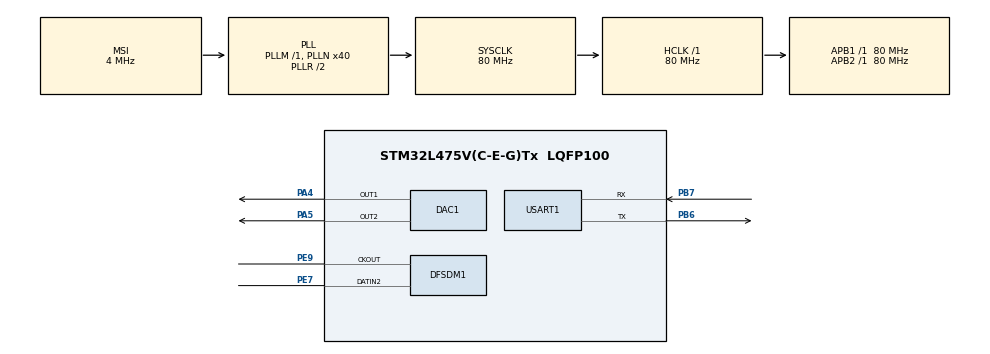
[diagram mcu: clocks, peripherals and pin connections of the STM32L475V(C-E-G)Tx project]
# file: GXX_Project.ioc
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DAC1.DAC_Channel-DAC_OUT2=DAC_CHANNEL_2
DFSDM1.Divider=32
DFSDM1.FastMode_reg_FIL0=ENABLE
DFSDM1.FastMode_reg_FIL1=ENABLE
DFSDM1.Filter_regChannel_FIL0=DFSDM_CHANNEL_1
DFSDM1.Filter_regChannel_FIL1=DFSDM_CHANNEL_2
DFSDM1.Filter_regContinuousMode_FIL0=DFSDM_CONTINUOUS_CONV_ON
DFSDM1.Filter_regContinuousMode_FIL1=DFSDM_CONTINUOUS_CONV_ON
DFSDM1.Fosr_FIL0=128
DFSDM1.Fosr_FIL1=128
DFSDM1.Iosr_FIL0=1
DFSDM1.Iosr_FIL1=1
DFSDM1.Offset_CH1=-1152
DFSDM1.Offset_CH2=-1152
DFSDM1.RightBitShift_CH1=0x0D
DFSDM1.RightBitShift_CH2=0x0D
DFSDM1.Selection=DFSDM_CHANNEL_OUTPUT_CLOCK_AUDIO
DFSDM1.SincOrder_FIL0=DFSDM_FILTER_SINC4_ORDER
DFSDM1.SincOrder_FIL1=DFSDM_FILTER_SINC4_ORDER
DFSDM1.Type_spi_CH1=DFSDM_CHANNEL_SPI_FALLING
Mcu.Family=STM32L4
Mcu.Name=STM32L475V(C-E-G)Tx
Mcu.Package=LQFP100
NVIC.PriorityGroup=NVIC_PRIORITYGROUP_4
NVIC.TIM1_TRG_COM_TIM17_IRQn=true\:0\:0\:false\:false\:true\:false\:false
NVIC.TimeBase=TIM1_TRG_COM_TIM17_IRQn
NVIC.TimeBaseIP=TIM17
PA4.Signal=COMP_DAC11_group
PA5.Signal=COMP_DAC12_group
PB6.Mode=Asynchronous
PB6.Signal=USART1_TX
PB7.Mode=Asynchronous
PB7.Signal=USART1_RX
PE7.Signal=S_DATAIN2DFSDM1
PE9.Signal=S_CKOUTDFSDM1
ProjectManager.HeapSize=0x200
ProjectManager.StackSize=0x400
ProjectManager.TargetToolchain=MDK-ARM V5
RCC.ADCFreq_Value=64000000
RCC.AHBFreq_Value=80000000
RCC.APB1Freq_Value=80000000
RCC.APB1TimFreq_Value=80000000
RCC.APB2Freq_Value=80000000
RCC.APB2TimFreq_Value=80000000
RCC.CortexFreq_Value=80000000
RCC.HCLKFreq_Value=80000000
RCC.HSE_VALUE=8000000
RCC.HSI_VALUE=16000000
RCC.LSE_VALUE=32768
RCC.MSI_VALUE=4000000
RCC.PLLN=40
RCC.PLLSAI1N=32
RCC.SYSCLKFreq_VALUE=80000000
RCC.SYSCLKSource=RCC_SYSCLKSOURCE_PLLCLK
RCC.USBFreq_Value=64000000
RCC.VCOOutputFreq_Value=160000000
SH.COMP_DAC11_group.0=DAC1_OUT1,DAC_OUT1
SH.COMP_DAC12_group.0=DAC1_OUT2,DAC_OUT2
SH.S_CKOUTDFSDM1.0=DFSDM1_CKOUT,PDM_SPI_input_from_ch2_and_internal_clock
SH.S_CKOUTDFSDM1.1=DFSDM1_CKOUT,PDM_SPI_Input_from_ch12_and_Internal_Clock
SH.S_DATAIN2DFSDM1.0=DFSDM1_DATIN2,PDM_SPI_input_from_ch2_and_internal_clock
SH.S_DATAIN2DFSDM1.1=DFSDM1_DATIN2,PDM_SPI_Input_from_ch12_and_Internal_Clock
USART1.VirtualMode-Asynchronous=VM_ASYNC
VP_SYS_VS_tim17.Mode=TIM17
board=custom

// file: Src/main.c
/**
  ******************************************************************************
  * @file           : main.c
  * @brief          : Main program body
  ******************************************************************************
  * This notice applies to any and all portions of this file
  * that are not between comment pairs USER CODE BEGIN and
  * USER CODE END. Other portions of this file, whether
  * inserted by the user or by software development tools
  * are owned by their respective copyright owners.
  *
  * Copyright (c) 2018 STMicroelectronics International N.V.
  * All rights reserved.
  *
  * Redistribution and use in source and binary forms, with or without
  * modification, are permitted, provided that the following conditions are met:
  *
  * 1. Redistribution of source code must retain the above copyright notice,
  *    this list of conditions and the following disclaimer.
  * 2. Redistributions in binary form must reproduce the above copyright notice,
  *    this list of conditions and the following disclaimer in the documentation
  *    and/or other materials provided with the distribution.
  * 3. Neither the name of STMicroelectronics nor the names of other
  *    contributors to this software may be used to endorse or promote products
  *    derived from this software without specific written permission.
  * 4. This software, including modifications and/or derivative works of this
  *    software, must execute solely and exclusively on microcontroller or
  *    microprocessor devices manufactured by or for STMicroelectronics.
  * 5. Redistribution and use of this software other than as permitted under
  *    this license is void and will automatically terminate your rights under
  *    this license.
  *
  * THIS SOFTWARE IS PROVIDED BY STMICROELECTRONICS AND CONTRIBUTORS "AS IS"
  * AND ANY EXPRESS, IMPLIED OR STATUTORY WARRANTIES, INCLUDING, BUT NOT
  * LIMITED TO, THE IMPLIED WARRANTIES OF MERCHANTABILITY, FITNESS FOR A
  * PARTICULAR PURPOSE AND NON-INFRINGEMENT OF THIRD PARTY INTELLECTUAL PROPERTY
  * RIGHTS ARE DISCLAIMED TO THE FULLEST EXTENT PERMITTED BY LAW. IN NO EVENT
  * SHALL STMICROELECTRONICS OR CONTRIBUTORS BE LIABLE FOR ANY DIRECT, INDIRECT,
  * INCIDENTAL, SPECIAL, EXEMPLARY, OR CONSEQUENTIAL DAMAGES (INCLUDING, BUT NOT
  * LIMITED TO, PROCUREMENT OF SUBSTITUTE GOODS OR SERVICES; LOSS OF USE, DATA,
  * OR PROFITS; OR BUSINESS INTERRUPTION) HOWEVER CAUSED AND ON ANY THEORY OF
  * LIABILITY, WHETHER IN CONTRACT, STRICT LIABILITY, OR TORT (INCLUDING
  * NEGLIGENCE OR OTHERWISE) ARISING IN ANY WAY OUT OF THE USE OF THIS SOFTWARE,
  * EVEN IF ADVISED OF THE POSSIBILITY OF SUCH DAMAGE.
  *
  ******************************************************************************
  */
#include "main.h"
#include "stm32l4xx_hal.h"
#include "cmsis_os.h"

/* USER CODE BEGIN Includes */
#include "arm_math.h"
#include "stm32l475e_iot01_qspi.h"

#define SIZE 16000
/* USER CODE END Includes */

DAC_HandleTypeDef hdac1;

DFSDM_Filter_HandleTypeDef hdfsdm1_filter0;
DFSDM_Filter_HandleTypeDef hdfsdm1_filter1;
DFSDM_Channel_HandleTypeDef hdfsdm1_channel1;
DFSDM_Channel_HandleTypeDef hdfsdm1_channel2;

UART_HandleTypeDef huart1;

osThreadId defaultTaskHandle;

/* USER CODE BEGIN PV */
/* Private variables ---------------------------------------------------------*/
int tim3_flag = 0;
int buffer[SIZE];
int timerFlag = 0;
/* USER CODE END PV */

void SystemClock_Config(void);
static void MX_GPIO_Init(void);
static void MX_USART1_UART_Init(void);
static void MX_DFSDM1_Init(void);
static void MX_DAC1_Init(void);
void StartDefaultTask(void const * argument);

/* USER CODE BEGIN PFP */
/* Private function prototypes -----------------------------------------------*/
void generateSine(float frequency, int duration, int samplingFrequency);

/* USER CODE END PFP */

/* USER CODE BEGIN 0 */

int fputc(int ch, FILE *f) {
  while (HAL_OK != HAL_UART_Transmit(&huart1, (uint8_t *) &ch, 1, 30000));
  return ch;
}
int fgetc(FILE *f) {
  uint8_t ch = 0;
  while (HAL_OK != HAL_UART_Receive(&huart1, (uint8_t *)&ch, 1, 30000));
  return ch;
}

/* USER CODE END 0 */

int main(void)
{

  /* MCU Configuration----------------------------------------------------------*/

  /* Reset of all peripherals, Initializes the Flash interface and the Systick. */
  HAL_Init();

  /* Configure the system clock */
  SystemClock_Config();

  /* Initialize all configured peripherals */
  MX_GPIO_Init();
  MX_USART1_UART_Init();
  MX_DFSDM1_Init();
  MX_DAC1_Init();

  /* USER CODE BEGIN 2 */
	HAL_DAC_Start(&hdac1, DAC_CHANNEL_1);
	HAL_DAC_Start(&hdac1, DAC_CHANNEL_2);
  /* USER CODE END 2 */

  /* Create the thread(s) */
  /* definition and creation of defaultTask */
  osThreadDef(defaultTask, StartDefaultTask, osPriorityNormal, 0, 128);
  defaultTaskHandle = osThreadCreate(osThread(defaultTask), NULL);

  /* Start scheduler */
  osKernelStart();

  /* We should never get here as control is now taken by the scheduler */

  /* Infinite loop */
	while (1)
  {
  }
}

void SystemClock_Config(void)
{

  RCC_OscInitTypeDef RCC_OscInitStruct;
  RCC_ClkInitTypeDef RCC_ClkInitStruct;
  RCC_PeriphCLKInitTypeDef PeriphClkInit;

    /**Initializes the CPU, AHB and APB busses clocks
    */
  RCC_OscInitStruct.OscillatorType = RCC_OSCILLATORTYPE_MSI;
  RCC_OscInitStruct.MSIState = RCC_MSI_ON;
  RCC_OscInitStruct.MSICalibrationValue = 0;
  RCC_OscInitStruct.MSIClockRange = RCC_MSIRANGE_6;
  RCC_OscInitStruct.PLL.PLLState = RCC_PLL_ON;
  RCC_OscInitStruct.PLL.PLLSource = RCC_PLLSOURCE_MSI;
  RCC_OscInitStruct.PLL.PLLM = 1;
  RCC_OscInitStruct.PLL.PLLN = 40;
  RCC_OscInitStruct.PLL.PLLP = RCC_PLLP_DIV7;
  RCC_OscInitStruct.PLL.PLLQ = RCC_PLLQ_DIV2;
  RCC_OscInitStruct.PLL.PLLR = RCC_PLLR_DIV2;
  if (HAL_RCC_OscConfig(&RCC_OscInitStruct) != HAL_OK)
  {
    _Error_Handler(__FILE__, __LINE__);
  }

    /**Initializes the CPU, AHB and APB busses clocks
    */
  RCC_ClkInitStruct.ClockType = RCC_CLOCKTYPE_HCLK|RCC_CLOCKTYPE_SYSCLK
                              |RCC_CLOCKTYPE_PCLK1|RCC_CLOCKTYPE_PCLK2;
  RCC_ClkInitStruct.SYSCLKSource = RCC_SYSCLKSOURCE_PLLCLK;
  RCC_ClkInitStruct.AHBCLKDivider = RCC_SYSCLK_DIV1;
  RCC_ClkInitStruct.APB1CLKDivider = RCC_HCLK_DIV1;
  RCC_ClkInitStruct.APB2CLKDivider = RCC_HCLK_DIV1;

  if (HAL_RCC_ClockConfig(&RCC_ClkInitStruct, FLASH_LATENCY_4) != HAL_OK)
  {
    _Error_Handler(__FILE__, __LINE__);
  }

  PeriphClkInit.PeriphClockSelection = RCC_PERIPHCLK_USART1|RCC_PERIPHCLK_SAI1
                              |RCC_PERIPHCLK_DFSDM1;
  PeriphClkInit.Usart1ClockSelection = RCC_USART1CLKSOURCE_PCLK2;
  PeriphClkInit.Sai1ClockSelection = RCC_SAI1CLKSOURCE_PLLSAI1;
  PeriphClkInit.Dfsdm1ClockSelection = RCC_DFSDM1CLKSOURCE_PCLK;
  PeriphClkInit.PLLSAI1.PLLSAI1Source = RCC_PLLSOURCE_MSI;
  PeriphClkInit.PLLSAI1.PLLSAI1M = 1;
  PeriphClkInit.PLLSAI1.PLLSAI1N = 32;
  PeriphClkInit.PLLSAI1.PLLSAI1P = RCC_PLLP_DIV7;
  PeriphClkInit.PLLSAI1.PLLSAI1Q = RCC_PLLQ_DIV2;
  PeriphClkInit.PLLSAI1.PLLSAI1R = RCC_PLLR_DIV2;
  PeriphClkInit.PLLSAI1.PLLSAI1ClockOut = RCC_PLLSAI1_SAI1CLK;
  if (HAL_RCCEx_PeriphCLKConfig(&PeriphClkInit) != HAL_OK)
  {
    _Error_Handler(__FILE__, __LINE__);
  }

    /**Configure the main internal regulator output voltage
    */
  if (HAL_PWREx_ControlVoltageScaling(PWR_REGULATOR_VOLTAGE_SCALE1) != HAL_OK)
  {
    _Error_Handler(__FILE__, __LINE__);
  }

    /**Configure the Systick interrupt time
    */
  HAL_SYSTICK_Config(HAL_RCC_GetHCLKFreq()/16000);

    /**Configure the Systick
    */
  HAL_SYSTICK_CLKSourceConfig(SYSTICK_CLKSOURCE_HCLK);

  /* SysTick_IRQn interrupt configuration */
  HAL_NVIC_SetPriority(SysTick_IRQn, 15, 0);
}

/* DAC1 init function */
static void MX_DAC1_Init(void)
{

  DAC_ChannelConfTypeDef sConfig;

    /**DAC Initialization
    */
  hdac1.Instance = DAC1;
  if (HAL_DAC_Init(&hdac1) != HAL_OK)
  {
    _Error_Handler(__FILE__, __LINE__);
  }

    /**DAC channel OUT1 config
    */
  sConfig.DAC_SampleAndHold = DAC_SAMPLEANDHOLD_DISABLE;
  sConfig.DAC_Trigger = DAC_TRIGGER_NONE;
  sConfig.DAC_OutputBuffer = DAC_OUTPUTBUFFER_ENABLE;
  sConfig.DAC_ConnectOnChipPeripheral = DAC_CHIPCONNECT_DISABLE;
  sConfig.DAC_UserTrimming = DAC_TRIMMING_FACTORY;
  if (HAL_DAC_ConfigChannel(&hdac1, &sConfig, DAC_CHANNEL_1) != HAL_OK)
  {
    _Error_Handler(__FILE__, __LINE__);
  }

    /**DAC channel OUT2 config
    */
  sConfig.DAC_ConnectOnChipPeripheral = DAC_CHIPCONNECT_DISABLE;
  if (HAL_DAC_ConfigChannel(&hdac1, &sConfig, DAC_CHANNEL_2) != HAL_OK)
  {
    _Error_Handler(__FILE__, __LINE__);
  }

}

/* DFSDM1 init function */
static void MX_DFSDM1_Init(void)
{

  hdfsdm1_filter0.Instance = DFSDM1_Filter0;
  hdfsdm1_filter0.Init.RegularParam.Trigger = DFSDM_FILTER_SW_TRIGGER;
  hdfsdm1_filter0.Init.RegularParam.FastMode = ENABLE;
  hdfsdm1_filter0.Init.RegularParam.DmaMode = DISABLE;
  hdfsdm1_filter0.Init.FilterParam.SincOrder = DFSDM_FILTER_SINC4_ORDER;
  hdfsdm1_filter0.Init.FilterParam.Oversampling = 128;
  hdfsdm1_filter0.Init.FilterParam.IntOversampling = 1;
  if (HAL_DFSDM_FilterInit(&hdfsdm1_filter0) != HAL_OK)
  {
    _Error_Handler(__FILE__, __LINE__);
  }

  hdfsdm1_filter1.Instance = DFSDM1_Filter1;
  hdfsdm1_filter1.Init.RegularParam.Trigger = DFSDM_FILTER_SW_TRIGGER;
  hdfsdm1_filter1.Init.RegularParam.FastMode = ENABLE;
  hdfsdm1_filter1.Init.RegularParam.DmaMode = DISABLE;
  hdfsdm1_filter1.Init.FilterParam.SincOrder = DFSDM_FILTER_SINC4_ORDER;
  hdfsdm1_filter1.Init.FilterParam.Oversampling = 128;
  hdfsdm1_filter1.Init.FilterParam.IntOversampling = 1;
  if (HAL_DFSDM_FilterInit(&hdfsdm1_filter1) != HAL_OK)
  {
    _Error_Handler(__FILE__, __LINE__);
  }

  hdfsdm1_channel1.Instance = DFSDM1_Channel1;
  hdfsdm1_channel1.Init.OutputClock.Activation = ENABLE;
  hdfsdm1_channel1.Init.OutputClock.Selection = DFSDM_CHANNEL_OUTPUT_CLOCK_AUDIO;
  hdfsdm1_channel1.Init.OutputClock.Divider = 32;
  hdfsdm1_channel1.Init.Input.Multiplexer = DFSDM_CHANNEL_EXTERNAL_INPUTS;
  hdfsdm1_channel1.Init.Input.DataPacking = DFSDM_CHANNEL_STANDARD_MODE;
  hdfsdm1_channel1.Init.Input.Pins = DFSDM_CHANNEL_FOLLOWING_CHANNEL_PINS;
  hdfsdm1_channel1.Init.SerialInterface.Type = DFSDM_CHANNEL_SPI_FALLING;
  hdfsdm1_channel1.Init.SerialInterface.SpiClock = DFSDM_CHANNEL_SPI_CLOCK_INTERNAL;
  hdfsdm1_channel1.Init.Awd.FilterOrder = DFSDM_CHANNEL_FASTSINC_ORDER;
  hdfsdm1_channel1.Init.Awd.Oversampling = 1;
  hdfsdm1_channel1.Init.Offset = -1152;
  hdfsdm1_channel1.Init.RightBitShift = 0x0D;
  if (HAL_DFSDM_ChannelInit(&hdfsdm1_channel1) != HAL_OK)
  {
    _Error_Handler(__FILE__, __LINE__);
  }

  hdfsdm1_channel2.Instance = DFSDM1_Channel2;
  hdfsdm1_channel2.Init.OutputClock.Activation = ENABLE;
  hdfsdm1_channel2.Init.OutputClock.Selection = DFSDM_CHANNEL_OUTPUT_CLOCK_AUDIO;
  hdfsdm1_channel2.Init.OutputClock.Divider = 32;
  hdfsdm1_channel2.Init.Input.Multiplexer = DFSDM_CHANNEL_EXTERNAL_INPUTS;
  hdfsdm1_channel2.Init.Input.DataPacking = DFSDM_CHANNEL_STANDARD_MODE;
  hdfsdm1_channel2.Init.Input.Pins = DFSDM_CHANNEL_SAME_CHANNEL_PINS;
  hdfsdm1_channel2.Init.SerialInterface.Type = DFSDM_CHANNEL_SPI_RISING;
  hdfsdm1_channel2.Init.SerialInterface.SpiClock = DFSDM_CHANNEL_SPI_CLOCK_INTERNAL;
  hdfsdm1_channel2.Init.Awd.FilterOrder = DFSDM_CHANNEL_FASTSINC_ORDER;
  hdfsdm1_channel2.Init.Awd.Oversampling = 1;
  hdfsdm1_channel2.Init.Offset = -1152;
  hdfsdm1_channel2.Init.RightBitShift = 0x0D;
  if (HAL_DFSDM_ChannelInit(&hdfsdm1_channel2) != HAL_OK)
  {
    _Error_Handler(__FILE__, __LINE__);
  }

  if (HAL_DFSDM_FilterConfigRegChannel(&hdfsdm1_filter0, DFSDM_CHANNEL_1, DFSDM_CONTINUOUS_CONV_ON) != HAL_OK)
  {
    _Error_Handler(__FILE__, __LINE__);
  }

  if (HAL_DFSDM_FilterConfigRegChannel(&hdfsdm1_filter1, DFSDM_CHANNEL_2, DFSDM_CONTINUOUS_CONV_ON) != HAL_OK)
  {
    _Error_Handler(__FILE__, __LINE__);
  }

}

/* USART1 init function */
static void MX_USART1_UART_Init(void)
{

  huart1.Instance = USART1;
  huart1.Init.BaudRate = 115200;
  huart1.Init.WordLength = UART_WORDLENGTH_8B;
  huart1.Init.StopBits = UART_STOPBITS_1;
  huart1.Init.Parity = UART_PARITY_NONE;
  huart1.Init.Mode = UART_MODE_TX_RX;
  huart1.Init.HwFlowCtl = UART_HWCONTROL_NONE;
  huart1.Init.OverSampling = UART_OVERSAMPLING_16;
  huart1.Init.OneBitSampling = UART_ONE_BIT_SAMPLE_DISABLE;
  huart1.AdvancedInit.AdvFeatureInit = UART_ADVFEATURE_NO_INIT;
  if (HAL_UART_Init(&huart1) != HAL_OK)
  {
    _Error_Handler(__FILE__, __LINE__);
  }

}

/** Pinout Configuration
*/
static void MX_GPIO_Init(void)
{

  /* GPIO Ports Clock Enable */
  __HAL_RCC_GPIOA_CLK_ENABLE();
  __HAL_RCC_GPIOE_CLK_ENABLE();
  __HAL_RCC_GPIOB_CLK_ENABLE();

}

/* USER CODE BEGIN 4 */
void generateSine(float frequency, int duration, int samplingFrequency)
{
	int index = 0;
	float invSamplingFreq = 1.0f / samplingFrequency;
	for(int i = 0; i < duration * samplingFrequency; i++){
		float32_t val = arm_sin_f32(2.0f * PI * frequency * i * invSamplingFreq);
		uint8_t data = (val + 1.0f) * 127.5f;
		//HAL_DAC_SetValue(&hdac1, DAC_CHANNEL_1, DAC_ALIGN_8B_R, data);
		buffer[index++] = data;

	}

}

/* USER CODE END 4 */

/* StartDefaultTask function */
void StartDefaultTask(void const * argument)
{

  /* USER CODE BEGIN 5 */
	int index = 0;
	generateSine(440, 1, 16000);

  /* Infinite loop */
  for(;;)
  {
		index = 0;
		HAL_DAC_SetValue(&hdac1, DAC_CHANNEL_1, DAC_ALIGN_8B_R, 0);
		HAL_DAC_SetValue(&hdac1, DAC_CHANNEL_2, DAC_ALIGN_8B_R, 0);
		while (index < SIZE){
			if (timerFlag == 1){
				timerFlag = 0;
				HAL_DAC_SetValue(&hdac1, DAC_CHANNEL_1, DAC_ALIGN_8B_R, buffer[index]);
				HAL_DAC_SetValue(&hdac1, DAC_CHANNEL_2, DAC_ALIGN_8B_R, buffer[index]);
				index++;
			}
		}

  }
  /* USER CODE END 5 */
}

void HAL_TIM_PeriodElapsedCallback(TIM_HandleTypeDef *htim)
{
  if (htim->Instance == TIM17) {
    HAL_IncTick();
  }
}

void _Error_Handler(char *file, int line)
{
  while(1)
  {
  }
}

/************************ (C) COPYRIGHT STMicroelectronics *****END OF FILE****/
